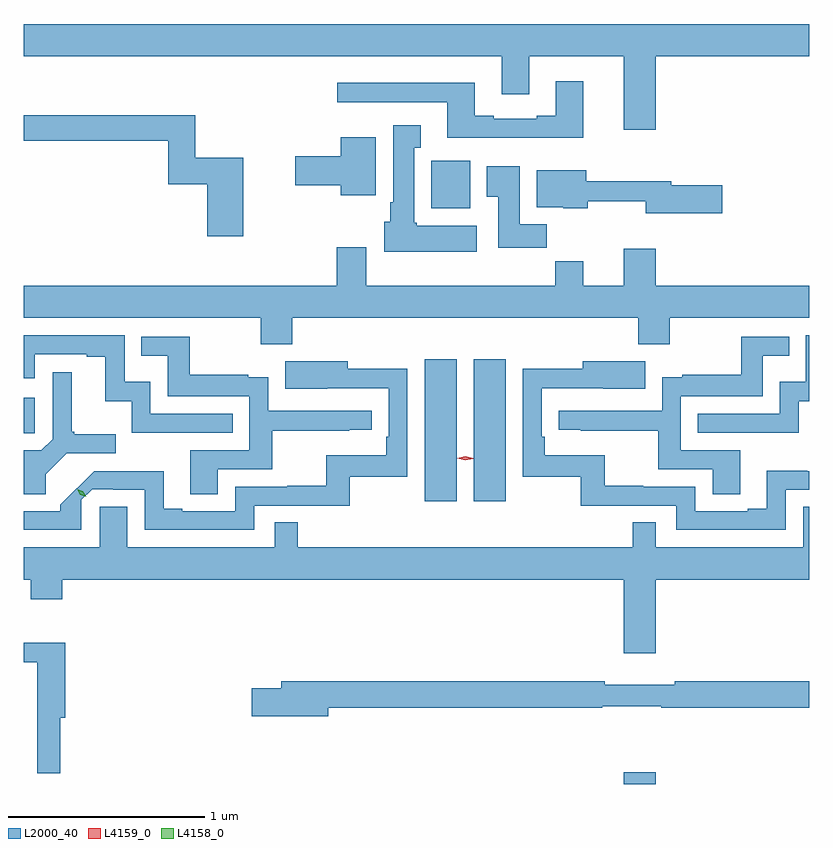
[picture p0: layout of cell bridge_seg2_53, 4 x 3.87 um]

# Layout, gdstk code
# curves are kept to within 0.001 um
import gdstk
lib = gdstk.Library(unit=1e-6, precision=1e-09)
def R(c, l, rs):  # rectangles x0, y0, x1, y1
    for r in rs: c.add(gdstk.rectangle(r[:2], r[2:], *l))
def P(c, l, *ps):  # polygons
    for p in ps: c.add(gdstk.Polygon(p, *l))
L2000_40 = (2000, 40)
L4158_0 = (4158, 0)
L4159_0 = (4159, 0)

bridge_seg2_53 = lib.new_cell('bridge_seg2_53')
R(bridge_seg2_53, L2000_40, [(1136.036,641.268,1136.2,641.329), (1135.025,642.708,1135.186,643.429), (1135.274,642.708,1135.435,643.429), (1132.982,643.053,1133.04,643.233), (1135.058,644.198,1135.255,644.44)])
P(bridge_seg2_53, L2000_40, [(1136.2,644.972),(1136.982,644.972),(1136.982,645.136),(1132.982,645.136),(1132.982,644.972),(1135.415,644.972),(1135.415,644.778),(1135.555,644.778),(1135.555,644.972),(1136.036,644.972),(1136.036,644.598),(1136.2,644.598)],
  [(1135.831,644.845),(1135.691,644.845),(1135.691,644.668),(1135.595,644.668),(1135.595,644.655),(1135.375,644.655),(1135.375,644.668),(1135.279,644.668),(1135.279,644.836),(1134.579,644.836),(1134.579,644.739),(1135.139,644.739),(1135.139,644.558),(1135.831,644.558)],
  [(1134.101,644.456),(1133.855,644.456),(1133.855,644.671),(1132.982,644.671),(1132.982,644.542),(1133.719,644.542),(1133.719,644.32),(1133.918,644.32),(1133.918,644.055),(1134.101,644.055)],
  [(1135.288,644.11),(1134.984,644.11),(1134.984,644.124),(1134.97,644.124),(1134.97,644.507),(1135.003,644.507),(1135.003,644.62),(1134.863,644.62),(1134.863,644.23),(1134.848,644.23),(1134.848,644.13),(1134.818,644.13),(1134.818,643.976),(1135.288,643.976)],
  [(1134.775,644.56),(1134.596,644.56),(1134.596,644.462),(1134.366,644.462),(1134.366,644.315),(1134.596,644.315),(1134.596,644.264),(1134.775,644.264)],
  [(1135.646,644.116),(1135.507,644.116),(1135.507,644.413),(1135.34,644.413),(1135.34,644.257),(1135.397,644.257),(1135.397,643.998),(1135.646,643.998)],
  [(1136.539,644.315),(1136.278,644.315),(1136.278,644.336),(1135.846,644.336),(1135.846,644.392),(1135.595,644.392),(1135.595,644.204),(1135.728,644.204),(1135.728,644.198),(1135.854,644.198),(1135.854,644.233),(1136.15,644.233),(1136.15,644.173),(1136.539,644.173)],
  [(1134.35,643.64),(1136.111,643.64),(1136.111,643.505),(1136.271,643.505),(1136.271,643.64),(1136.982,643.64),(1136.982,643.804),(1136.2,643.804),(1136.2,643.993),(1136.036,643.993),(1136.036,643.804),(1135.831,643.804),(1135.831,643.928),(1135.687,643.928),(1135.687,643.804),(1134.727,643.804),(1134.727,643.999),(1134.575,643.999),(1134.575,643.804),(1132.982,643.804),(1132.982,643.64),(1134.19,643.64),(1134.19,643.505),(1134.35,643.505)],
  [(1136.928,643.217),(1136.982,643.217),(1136.982,643.551),(1136.964,643.551),(1136.964,643.315),(1136.832,643.315),(1136.832,643.152),(1136.413,643.152),(1136.413,643.056),(1136.928,643.056)],
  [(1134.047,643.152),(1133.628,643.152),(1133.628,643.315),(1133.496,643.315),(1133.496,643.551),(1132.982,643.551),(1132.982,643.332),(1133.04,643.332),(1133.04,643.455),(1133.303,643.455),(1133.303,643.443),(1133.399,643.443),(1133.399,643.217),(1133.532,643.217),(1133.532,643.056),(1134.047,643.056)],
  [(1133.971,642.87),(1134.248,642.87),(1134.248,643.066),(1134.641,643.066),(1134.641,643.071),(1134.754,643.071),(1134.754,643.167),(1134.228,643.167),(1134.228,643.339),(1134.125,643.339),(1134.125,643.351),(1133.827,643.351),(1133.827,643.545),(1133.581,643.545),(1133.581,643.448),(1133.716,643.448),(1133.716,643.242),(1134.132,643.242),(1134.132,642.966),(1133.831,642.966),(1133.831,642.742),(1133.971,642.742)],
  [(1136.629,642.966),(1136.328,642.966),(1136.328,643.242),(1136.745,643.242),(1136.745,643.448),(1136.879,643.448),(1136.879,643.545),(1136.634,643.545),(1136.634,643.351),(1136.335,643.351),(1136.335,643.339),(1136.232,643.339),(1136.232,643.167),(1135.707,643.167),(1135.707,643.071),(1135.819,643.071),(1135.819,643.066),(1136.212,643.066),(1136.212,642.87),(1136.489,642.87),(1136.489,642.742),(1136.629,642.742)],
  [(1133.277,642.714),(1133.331,642.768),(1133.439,642.768),(1133.439,642.765),(1133.598,642.765),(1133.598,642.561),(1134.156,642.561),(1134.156,642.684),(1134.643,642.684),(1134.643,642.831),(1134.936,642.831),(1134.936,643.382),(1134.631,643.382),(1134.631,643.42),(1134.313,643.42),(1134.313,643.28),(1134.84,643.281),(1134.84,643.036),(1134.827,643.036),(1134.827,642.94),(1134.522,642.94),(1134.522,642.785),(1134.325,642.785),(1134.325,642.78),(1134.06,642.78),(1134.06,642.657),(1133.791,642.657),(1133.791,642.67),(1133.695,642.67),(1133.695,642.861),(1133.342,642.861),(1133.169,642.688),(1133.169,642.657),(1132.982,642.657),(1132.982,642.561),(1133.277,642.561)],
  [(1136.862,642.765),(1136.982,642.765),(1136.982,642.861),(1136.97,642.861),(1136.97,642.863),(1136.765,642.863),(1136.765,642.67),(1136.669,642.67),(1136.669,642.657),(1136.4,642.657),(1136.4,642.78),(1136.135,642.78),(1136.135,642.785),(1135.939,642.785),(1135.939,642.94),(1135.634,642.94),(1135.634,643.036),(1135.62,643.036),(1135.62,643.281),(1135.933,643.281),(1135.933,643.28),(1136.147,643.28),(1136.147,643.42),(1135.829,643.42),(1135.829,643.382),(1135.524,643.382),(1135.524,642.831),(1135.818,642.831),(1135.818,642.684),(1136.304,642.684),(1136.304,642.561),(1136.862,642.561)],
  [(1133.095,642.844),(1133.202,642.951),(1133.452,642.951),(1133.452,643.048),(1133.239,643.048),(1133.239,643.06),(1133.227,643.06),(1133.227,643.363),(1133.13,643.363),(1133.13,643.023),(1133.073,642.966),(1132.982,642.966),(1132.982,642.742),(1133.095,642.742)],
  [(1136.2,642.308),(1136.982,642.308),(1136.982,642.68),(1136.951,642.68),(1136.951,642.472),(1136.199,642.472),(1136.199,642.599),(1136.083,642.599),(1136.083,642.472),(1134.377,642.472),(1134.377,642.599),(1134.261,642.599),(1134.261,642.472),(1133.509,642.472),(1133.509,642.68),(1133.369,642.68),(1133.369,642.472),(1132.982,642.472),(1132.982,642.308),(1133.02,642.308),(1133.02,642.209),(1133.18,642.209),(1133.18,642.308),(1136.036,642.308),(1136.036,641.934),(1136.2,641.934)],
  [(1133.168,641.606),(1133.195,641.606),(1133.195,641.988),(1132.982,641.988),(1132.982,641.888),(1133.052,641.888),(1133.052,641.322),(1133.168,641.322)],
  [(1134.532,641.656),(1135.928,641.656),(1135.928,641.664),(1136.228,641.664),(1136.228,641.656),(1136.982,641.656),(1136.982,641.792),(1136.296,641.792),(1136.296,641.773),(1135.94,641.773),(1135.94,641.792),(1134.293,641.792),(1134.293,641.756),(1134.144,641.756),(1134.144,641.614),(1134.532,641.614)])
P(bridge_seg2_53, L4158_0, [(1133.3,642.73),(1133.271,642.741),(1133.255,642.768),(1133.255,642.768),(1133.255,642.768),(1133.284,642.757),(1133.3,642.73),(1133.3,642.73)])
P(bridge_seg2_53, L4159_0, [(1135.23,642.915),(1135.19,642.925),(1135.19,642.925),(1135.19,642.925),(1135.23,642.935),(1135.27,642.925),(1135.27,642.925),(1135.27,642.924)])

lib.write_gds('bridge_seg2_53.gds')
